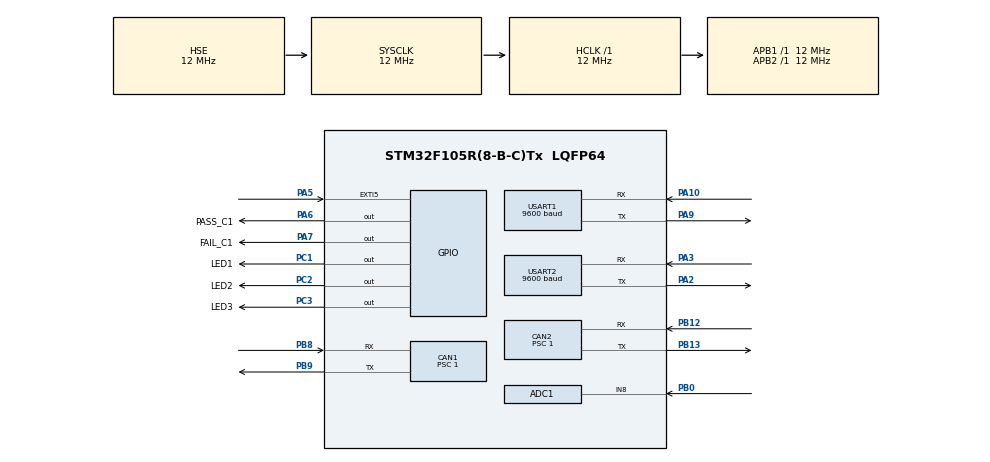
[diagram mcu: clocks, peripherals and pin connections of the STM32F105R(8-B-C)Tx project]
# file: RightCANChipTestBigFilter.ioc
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ADC1.Channel-3\#ChannelRegularConversion=ADC_CHANNEL_8
ADC1.NbrOfConversionFlag=1
ADC1.Rank-3\#ChannelRegularConversion=1
ADC1.SamplingTime-3\#ChannelRegularConversion=ADC_SAMPLETIME_1CYCLE_5
ADC1.master=1
CAN1.BS1=CAN_BS1_12TQ
CAN1.BS2=CAN_BS2_2TQ
CAN1.CalculateBaudRate=800000
CAN1.CalculateTimeBit=1250
CAN1.CalculateTimeQuantum=83.33333333333333
CAN1.NART=ENABLE
CAN1.Prescaler=1
CAN2.BS1=CAN_BS1_12TQ
CAN2.BS2=CAN_BS2_2TQ
CAN2.CalculateBaudRate=800000
CAN2.CalculateTimeBit=1250
CAN2.CalculateTimeQuantum=83.33333333333333
CAN2.NART=DISABLE
CAN2.Prescaler=1
Dma.Request0=USART1_RX
Dma.USART1_RX.0.Direction=DMA_PERIPH_TO_MEMORY
Dma.USART1_RX.0.Instance=DMA1_Channel5
Dma.USART1_RX.0.MemDataAlignment=DMA_MDATAALIGN_BYTE
Dma.USART1_RX.0.MemInc=DMA_MINC_ENABLE
Dma.USART1_RX.0.Mode=DMA_NORMAL
Dma.USART1_RX.0.PeriphDataAlignment=DMA_PDATAALIGN_BYTE
Dma.USART1_RX.0.PeriphInc=DMA_PINC_DISABLE
Dma.USART1_RX.0.Priority=DMA_PRIORITY_LOW
Mcu.Family=STM32F1
Mcu.Name=STM32F105R(8-B-C)Tx
Mcu.Package=LQFP64
NVIC.CAN1_RX0_IRQn=true\:0\:0\:false\:false\:true\:true\:true\:true
NVIC.CAN1_SCE_IRQn=true\:0\:0\:false\:false\:true\:true\:true\:true
NVIC.CAN1_TX_IRQn=true\:0\:0\:false\:false\:true\:true\:true\:true
NVIC.CAN2_RX1_IRQn=true\:0\:0\:false\:false\:true\:true\:true\:true
NVIC.CAN2_SCE_IRQn=true\:0\:0\:false\:false\:true\:true\:true\:true
NVIC.CAN2_TX_IRQn=true\:0\:0\:false\:false\:true\:true\:true\:true
NVIC.DMA1_Channel5_IRQn=true\:0\:0\:false\:false\:true\:false\:true\:true
NVIC.EXTI9_5_IRQn=true\:0\:0\:false\:false\:true\:true\:true\:true
NVIC.PriorityGroup=NVIC_PRIORITYGROUP_4
NVIC.TIM6_IRQn=true\:0\:0\:false\:false\:true\:true\:true\:true
NVIC.TIM7_IRQn=true\:0\:0\:false\:false\:true\:true\:true\:true
NVIC.USART1_IRQn=true\:0\:0\:false\:false\:true\:true\:true\:true
NVIC.USART2_IRQn=true\:0\:0\:false\:false\:true\:true\:true\:true
PA10.Mode=Asynchronous
PA10.Signal=USART1_RX
PA2.Mode=Asynchronous
PA2.Signal=USART2_TX
PA3.Mode=Asynchronous
PA3.Signal=USART2_RX
PA5.GPIO_ModeDefaultEXTI=GPIO_MODE_IT_RISING_FALLING
PA5.GPIO_PuPd=GPIO_PULLUP
PA5.Signal=GPXTI5
PA6.GPIO_Label=PASS_C1
PA6.GPIO_ModeDefaultOutputPP=GPIO_MODE_OUTPUT_PP
PA6.GPIO_PuPd=GPIO_PULLUP
PA6.PinState=GPIO_PIN_RESET
PA6.Signal=GPIO_Output
PA7.GPIO_Label=FAIL_C1
PA7.GPIO_ModeDefaultOutputPP=GPIO_MODE_OUTPUT_PP
PA7.GPIO_PuPd=GPIO_PULLUP
PA7.PinState=GPIO_PIN_RESET
PA7.Signal=GPIO_Output
PA9.Mode=Asynchronous
PA9.Signal=USART1_TX
PB0.Signal=ADCx_IN8
PB12.Mode=CAN_Activate
PB12.Signal=CAN2_RX
PB13.Mode=CAN_Activate
PB13.Signal=CAN2_TX
PB8.Mode=CAN_Activate
PB8.Signal=CAN1_RX
PB9.Mode=CAN_Activate
PB9.Signal=CAN1_TX
PC1.GPIO_Label=LED1
PC1.GPIO_PuPd=GPIO_NOPULL
PC1.Signal=GPIO_Output
PC2.GPIO_Label=LED2
PC2.Signal=GPIO_Output
PC3.GPIO_Label=LED3
PC3.Signal=GPIO_Output
PD0-OSC_IN.Mode=HSE-External-Oscillator
PD0-OSC_IN.Signal=RCC_OSC_IN
PD1-OSC_OUT.Mode=HSE-External-Oscillator
PD1-OSC_OUT.Signal=RCC_OSC_OUT
ProjectManager.HeapSize=0x200
ProjectManager.StackSize=0x400
ProjectManager.TargetToolchain=STM32CubeIDE
RCC.ADCPresc=RCC_ADCPCLK2_DIV6
RCC.AHBFreq_Value=12000000
RCC.APB1Freq_Value=12000000
RCC.APB1TimFreq_Value=12000000
RCC.APB2Freq_Value=12000000
RCC.APB2TimFreq_Value=12000000
RCC.HCLKFreq_Value=12000000
RCC.HSE_VALUE=12000000
RCC.PLLMUL=RCC_PLL_MUL6
RCC.PLLSourceVirtual=RCC_PLLSOURCE_HSE
RCC.SYSCLKFreq_VALUE=12000000
RCC.SYSCLKSource=RCC_SYSCLKSOURCE_HSE
RCC.USBFreq_Value=48000000
SH.ADCx_IN8.0=ADC1_IN8,IN8
TIM6.Period=1
TIM6.Prescaler=11999
TIM7.AutoReloadPreload=TIM_AUTORELOAD_PRELOAD_ENABLE
TIM7.Period=100
TIM7.Prescaler=12000
USART1.BaudRate=9600
USART1.VirtualMode=VM_ASYNC
USART2.BaudRate=9600
USART2.VirtualMode=VM_ASYNC
VP_TIM6_VS_ClockSourceINT.Mode=Enable_Timer
VP_TIM7_VS_ClockSourceINT.Mode=Enable_Timer
board=custom

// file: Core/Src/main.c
/* USER CODE BEGIN Header */
/* USER CODE END Header */
#include "main.h"

ADC_HandleTypeDef hadc1;

CAN_HandleTypeDef hcan1;
CAN_HandleTypeDef hcan2;

TIM_HandleTypeDef htim6;
TIM_HandleTypeDef htim7;

UART_HandleTypeDef huart1;
UART_HandleTypeDef huart2;
DMA_HandleTypeDef hdma_usart1_rx;

/* USER CODE BEGIN PV */
uint8_t gUartByte;              // Received data byte from uart
uint8_t gCanReceivedMsg = 0x00; // Received CAN message from an interrupt
uint8_t gChannelsTested;
uint8_t gAdcRxDataUart[TOTAL_ADC_CONN_C][ADC_DATA_LEN]; // Stored adc data received from Uart

bool    gStartDmaUart   = false; // A boolean for starting uart dma reception
bool    gAllAdcReceived = false; // Tells if all the bytes for adc have been received
uint8_t turnOn          = 0;
/* USER CODE END PV */

void SystemClock_Config(void);
static void MX_GPIO_Init(void);
static void MX_DMA_Init(void);
static void MX_CAN1_Init(void);
static void MX_CAN2_Init(void);
static void MX_ADC1_Init(void);
static void MX_USART1_UART_Init(void);
static void MX_USART2_UART_Init(void);
static void MX_TIM7_Init(void);
static void MX_TIM6_Init(void);

/* USER CODE BEGIN 0 */

// Button interrupt, which will trigger the reset.
void HAL_GPIO_EXTI_Callback(uint16_t GPIO_Pin)
{
  // If the button press is recognised and the debounce is not triggered at the moment
  if(GPIO_Pin == GPIO_PIN_5)
  {
    HAL_TIM_Base_Start_IT(&htim6); // Starts a short period timer for debounce
  }
}

// Timer callback irq function:
void HAL_TIM_PeriodElapsedCallback(TIM_HandleTypeDef *htim)
{
  // Timer for Debounce:
  if(htim->Instance == TIM6)
  {
    if(turnOn == 2)
    {
      NVIC_SystemReset();
    }
    else
    {
      turnOn = 1;
    }
    HAL_TIM_Base_Stop_IT(&htim6); // Stops the timer
  }
  // Timer for Toggling the builtin LED:
  if(htim->Instance == TIM7)
  {
    HAL_GPIO_TogglePin(GPIOC, LED3_Pin);
  }
}
/* USER CODE END 0 */

int main(void)
{

  /* MCU Configuration--------------------------------------------------------*/

  /* Reset of all peripherals, Initializes the Flash interface and the Systick. */
  HAL_Init();

  /* Configure the system clock */
  SystemClock_Config();

  /* Initialize all configured peripherals */
  MX_GPIO_Init();
  MX_DMA_Init();
  MX_CAN1_Init();
  MX_CAN2_Init();
  MX_ADC1_Init();
  MX_USART1_UART_Init();
  MX_USART2_UART_Init();
  MX_TIM7_Init();
  MX_TIM6_Init();
  /* USER CODE BEGIN 2 */
  while(turnOn != 1){}
  HAL_UART_Transmit(&huart1,(uint8_t*)"A", 1, 10);
  uint8_t C_CheckCount;       // Counter for tested conncetions from the C module
  uint8_t C1_CheckCount;      // Counter for tested conncetions from the C1 module
  uint8_t totalConnCount;     // Total connections tested (C1 and C combined)
  bool    bTestPass = true;

  // These are the main program states:
  MainStates_e  mainState  = MainStates_CHECK_CONNECTIONS;

  // Connections States, telling if the connection being tested is from C or from C1 module:
  ModuleTested_e moduleTested;

  // Test stages for each connection test
  TestStages_e testStage;

  // Data from C Module:
  C_Connections_t C_Connection[3]; // "C" MCU struct:
  C_Connection[0] = C_Init((uint8_t*)CAN1_NAME, C_Connection[0]); // CAN 1 parameters (UART):
  C_Connection[1] = C_Init((uint8_t*)CAN2_NAME, C_Connection[1]); // CAN 2 parameters (UART):
  C_Connection[2] = C_Init((uint8_t*)LIN_NAME, C_Connection[2]);  // LIN parameters (UART):

  // Data from this - C1 Module:
  C1_Connections_t C1_Connection[2]; // "C1" Connections MCU struct:
  C1_Connection[0] = C1_Init(&hcan1, (uint8_t*)CAN3_NAME, C1_Connection[0]); // CAN3 Parameters:
  C1_Connection[1] = C1_Init(&hcan2, (uint8_t*)CAN4_NAME, C1_Connection[1]); // CAN4 Parameters:

  test1  test1[6];
  for(int i=0; i<6 ; i++)
  {
    test1[i].bCurrentOk = true;
  }

  print_startMenu(); // Print start menu in the terminal:
  /* USER CODE END 2 */

  /* Infinite loop */
  /* USER CODE BEGIN WHILE */
  HAL_GPIO_WritePin(GPIOA,PASS_C1_Pin, 0);
  HAL_GPIO_WritePin(GPIOA,FAIL_C1_Pin, 0);

  gChannelsTested = 2;
  uartRx_receiveAdcDataC(&huart1);
  print_adcDataC(gAdcRxDataUart, test1, gChannelsTested);

  memset(gAdcRxDataUart, 0, sizeof(gAdcRxDataUart));      // Resets the global variable array
  gStartDmaUart = true;                                   // Starts the dma reading UART

  for(uint8_t testTry=1; testTry<=2; testTry++) // 2 test tries are used to fully test the system without any hiccups
  {
    // Resets all the counters and states for a new try
    C_CheckCount   = 0;
    C1_CheckCount  = 0;
    totalConnCount = 0;
    moduleTested   = ModuleTested_CHECK_C_UART;
    testStage      = TestStages_TRANSMIT_MSG;
    do
    {
      switch(mainState)
      {
          case MainStates_CHECK_CONNECTIONS:
            // If the Id is not for CAN1 and CAN2
            switch(moduleTested)
            {
              case ModuleTested_CHECK_C_UART:
                switch(testStage)
                {
                   case TestStages_TRANSMIT_MSG: // Enters the transmit stage
                     HAL_UART_Transmit(&huart1, &C_Connection[C_CheckCount].uartMsg, 1, 10);
                     testStage = TestStages_RECEIVE; // Goes to the next stage

                   case TestStages_RECEIVE: // Enters the reception stage
                     // The byte received will then return the status of the connection from this funtion (Good or Bad)
                     C_Connection[C_CheckCount].bIsConnected = uartRx_isConnectionOk(C_Connection[C_CheckCount].uartMsg, C_Connection[C_CheckCount].uartMsgError);
                     testStage = TestStages_TRANSMIT_MSG; // Goes to the first stage
                     break;
                }
                break;

              case ModuleTested_CHECK_C1:
                switch(testStage)
                {
                  case TestStages_TRANSMIT_MSG: // Enters the transmit stage
                    canTx_sendMsg(C1_Connection[C1_CheckCount].canId, C1_Connection[C1_CheckCount].canMsg, C1_Connection[C1_CheckCount].pCan);
                    testStage = TestStages_RECEIVE; // Goes to the next stage

                  case TestStages_RECEIVE: // Enters the reception stage
                    // This returns the checked status of the connetion (Good or Bad)
                    C1_Connection[C1_CheckCount].bIsConnected = canRx_isCanOk(C1_Connection[C1_CheckCount].canMsg);
                    testStage = TestStages_TRANSMIT_MSG;  // Goes to the first stage
                 }
                break;
            }
            mainState = MainStates_PRINT_STATUS_USB; // Moves on to the next state:
            break;
          case MainStates_PRINT_STATUS_USB:
            // Print status Uart for CAN1 and CAN2
            switch(moduleTested)
            {
             case ModuleTested_CHECK_C_UART:
                 if(testTry == 2)  // Print status Uart for CAN3 and CAN4 on a second test try
                 {
                   // Prints the C connection data onto the terminal
                   print_connectionStatus(totalConnCount, C_Connection[C_CheckCount].name, C_Connection[C_CheckCount].bIsConnected, &huart2);
                 }
                 C_CheckCount++;
                 break;
              case ModuleTested_CHECK_C1:
                if(testTry == 2)  // Print status Uart for CAN1 and CAN2, LIN on a second test try
                {
                  // Prints the C1 connection data onto the terminal
                  print_connectionStatus(totalConnCount, C1_Connection[C1_CheckCount].name, C1_Connection[C1_CheckCount].bIsConnected, &huart2);
                }
                C1_CheckCount++;
                break;
            }
            totalConnCount++;       // Increments the total connections tested
            if(totalConnCount == 3) // If CAN1, CAN2 and LIN have already been tested:
            {
              moduleTested = ModuleTested_CHECK_C1;   // Move to testing the C module connections
            }
            mainState = MainStates_CHECK_CONNECTIONS; // Moves on to the primary state:
            break;
      }
    }
    while(totalConnCount < TOTAL_CONNECTIONS); // Checks if all connections (C and C1) have been tested
    }
    gStartDmaUart   = false;
    HAL_UART_Transmit(&huart1,(uint8_t*)"R", 1, 10);

    gChannelsTested = 3;
    uartRx_receiveAdcDataC(&huart1);
    print_adcDataC(gAdcRxDataUart, test1, gChannelsTested);

    //--
    for(int i = 0; i<3;i++)
    {
      if(C_Connection[i].bIsConnected == false)
      {
        bTestPass = false;
      }
    }
    for(int i = 0; i<2; i++)
    {
      if(C1_Connection[i].bIsConnected == false)
      {
        bTestPass = false;
      }
    }
    print_endNote(bTestPass); // Prints the end data in the terminal
    //--

    turnOn = 2;
    while(1);
    /* USER CODE END WHILE */

}

void SystemClock_Config(void)
{
  RCC_OscInitTypeDef RCC_OscInitStruct = {0};
  RCC_ClkInitTypeDef RCC_ClkInitStruct = {0};
  RCC_PeriphCLKInitTypeDef PeriphClkInit = {0};

  /** Initializes the RCC Oscillators according to the specified parameters
  * in the RCC_OscInitTypeDef structure.
  */
  RCC_OscInitStruct.OscillatorType = RCC_OSCILLATORTYPE_HSE;
  RCC_OscInitStruct.HSEState = RCC_HSE_ON;
  RCC_OscInitStruct.PLL.PLLState = RCC_PLL_NONE;
  RCC_OscInitStruct.PLL2.PLL2State = RCC_PLL_NONE;
  if (HAL_RCC_OscConfig(&RCC_OscInitStruct) != HAL_OK)
  {
    Error_Handler();
  }

  /** Initializes the CPU, AHB and APB buses clocks
  */
  RCC_ClkInitStruct.ClockType = RCC_CLOCKTYPE_HCLK|RCC_CLOCKTYPE_SYSCLK
                              |RCC_CLOCKTYPE_PCLK1|RCC_CLOCKTYPE_PCLK2;
  RCC_ClkInitStruct.SYSCLKSource = RCC_SYSCLKSOURCE_HSE;
  RCC_ClkInitStruct.AHBCLKDivider = RCC_SYSCLK_DIV1;
  RCC_ClkInitStruct.APB1CLKDivider = RCC_HCLK_DIV1;
  RCC_ClkInitStruct.APB2CLKDivider = RCC_HCLK_DIV1;

  if (HAL_RCC_ClockConfig(&RCC_ClkInitStruct, FLASH_LATENCY_0) != HAL_OK)
  {
    Error_Handler();
  }
  PeriphClkInit.PeriphClockSelection = RCC_PERIPHCLK_ADC;
  PeriphClkInit.AdcClockSelection = RCC_ADCPCLK2_DIV6;
  if (HAL_RCCEx_PeriphCLKConfig(&PeriphClkInit) != HAL_OK)
  {
    Error_Handler();
  }

  /** Configure the Systick interrupt time
  */
  __HAL_RCC_PLLI2S_ENABLE();
}

static void MX_ADC1_Init(void)
{

  ADC_ChannelConfTypeDef sConfig = {0};

  /** Common config
  */
  hadc1.Instance = ADC1;
  hadc1.Init.ScanConvMode = ADC_SCAN_DISABLE;
  hadc1.Init.ContinuousConvMode = DISABLE;
  hadc1.Init.DiscontinuousConvMode = DISABLE;
  hadc1.Init.ExternalTrigConv = ADC_SOFTWARE_START;
  hadc1.Init.DataAlign = ADC_DATAALIGN_RIGHT;
  hadc1.Init.NbrOfConversion = 1;
  if (HAL_ADC_Init(&hadc1) != HAL_OK)
  {
    Error_Handler();
  }

  /** Configure Regular Channel
  */
  sConfig.Channel = ADC_CHANNEL_8;
  sConfig.Rank = ADC_REGULAR_RANK_1;
  sConfig.SamplingTime = ADC_SAMPLETIME_1CYCLE_5;
  if (HAL_ADC_ConfigChannel(&hadc1, &sConfig) != HAL_OK)
  {
    Error_Handler();
  }

}

static void MX_CAN1_Init(void)
{

  hcan1.Instance = CAN1;
  hcan1.Init.Prescaler = 1;
  hcan1.Init.Mode = CAN_MODE_NORMAL;
  hcan1.Init.SyncJumpWidth = CAN_SJW_1TQ;
  hcan1.Init.TimeSeg1 = CAN_BS1_12TQ;
  hcan1.Init.TimeSeg2 = CAN_BS2_2TQ;
  hcan1.Init.TimeTriggeredMode = DISABLE;
  hcan1.Init.AutoBusOff = DISABLE;
  hcan1.Init.AutoWakeUp = DISABLE;
  hcan1.Init.AutoRetransmission = ENABLE;
  hcan1.Init.ReceiveFifoLocked = DISABLE;
  hcan1.Init.TransmitFifoPriority = DISABLE;
  if (HAL_CAN_Init(&hcan1) != HAL_OK)
  {
    Error_Handler();
  }

}

static void MX_CAN2_Init(void)
{

  hcan2.Instance = CAN2;
  hcan2.Init.Prescaler = 1;
  hcan2.Init.Mode = CAN_MODE_NORMAL;
  hcan2.Init.SyncJumpWidth = CAN_SJW_1TQ;
  hcan2.Init.TimeSeg1 = CAN_BS1_12TQ;
  hcan2.Init.TimeSeg2 = CAN_BS2_2TQ;
  hcan2.Init.TimeTriggeredMode = DISABLE;
  hcan2.Init.AutoBusOff = DISABLE;
  hcan2.Init.AutoWakeUp = DISABLE;
  hcan2.Init.AutoRetransmission = DISABLE;
  hcan2.Init.ReceiveFifoLocked = DISABLE;
  hcan2.Init.TransmitFifoPriority = DISABLE;
  if (HAL_CAN_Init(&hcan2) != HAL_OK)
  {
    Error_Handler();
  }

}

static void MX_TIM6_Init(void)
{

  TIM_MasterConfigTypeDef sMasterConfig = {0};

  htim6.Instance = TIM6;
  htim6.Init.Prescaler = 11999;
  htim6.Init.CounterMode = TIM_COUNTERMODE_UP;
  htim6.Init.Period = 1;
  htim6.Init.AutoReloadPreload = TIM_AUTORELOAD_PRELOAD_DISABLE;
  if (HAL_TIM_Base_Init(&htim6) != HAL_OK)
  {
    Error_Handler();
  }
  sMasterConfig.MasterOutputTrigger = TIM_TRGO_RESET;
  sMasterConfig.MasterSlaveMode = TIM_MASTERSLAVEMODE_DISABLE;
  if (HAL_TIMEx_MasterConfigSynchronization(&htim6, &sMasterConfig) != HAL_OK)
  {
    Error_Handler();
  }

}

static void MX_TIM7_Init(void)
{

  TIM_MasterConfigTypeDef sMasterConfig = {0};

  htim7.Instance = TIM7;
  htim7.Init.Prescaler = 12000;
  htim7.Init.CounterMode = TIM_COUNTERMODE_UP;
  htim7.Init.Period = 100;
  htim7.Init.AutoReloadPreload = TIM_AUTORELOAD_PRELOAD_ENABLE;
  if (HAL_TIM_Base_Init(&htim7) != HAL_OK)
  {
    Error_Handler();
  }
  sMasterConfig.MasterOutputTrigger = TIM_TRGO_RESET;
  sMasterConfig.MasterSlaveMode = TIM_MASTERSLAVEMODE_DISABLE;
  if (HAL_TIMEx_MasterConfigSynchronization(&htim7, &sMasterConfig) != HAL_OK)
  {
    Error_Handler();
  }
  /* USER CODE BEGIN TIM7_Init 2 */
  HAL_TIM_Base_Start_IT(&htim7);
  /* USER CODE END TIM7_Init 2 */

}

static void MX_USART1_UART_Init(void)
{

  huart1.Instance = USART1;
  huart1.Init.BaudRate = 9600;
  huart1.Init.WordLength = UART_WORDLENGTH_8B;
  huart1.Init.StopBits = UART_STOPBITS_1;
  huart1.Init.Parity = UART_PARITY_NONE;
  huart1.Init.Mode = UART_MODE_TX_RX;
  huart1.Init.HwFlowCtl = UART_HWCONTROL_NONE;
  huart1.Init.OverSampling = UART_OVERSAMPLING_16;
  if (HAL_UART_Init(&huart1) != HAL_OK)
  {
    Error_Handler();
  }

}

static void MX_USART2_UART_Init(void)
{

  huart2.Instance = USART2;
  huart2.Init.BaudRate = 9600;
  huart2.Init.WordLength = UART_WORDLENGTH_8B;
  huart2.Init.StopBits = UART_STOPBITS_1;
  huart2.Init.Parity = UART_PARITY_NONE;
  huart2.Init.Mode = UART_MODE_TX_RX;
  huart2.Init.HwFlowCtl = UART_HWCONTROL_NONE;
  huart2.Init.OverSampling = UART_OVERSAMPLING_16;
  if (HAL_UART_Init(&huart2) != HAL_OK)
  {
    Error_Handler();
  }

}

static void MX_DMA_Init(void)
{

  /* DMA controller clock enable */
  __HAL_RCC_DMA1_CLK_ENABLE();

  /* DMA interrupt init */
  /* DMA1_Channel5_IRQn interrupt configuration */
  HAL_NVIC_SetPriority(DMA1_Channel5_IRQn, 0, 0);
  HAL_NVIC_EnableIRQ(DMA1_Channel5_IRQn);

}

static void MX_GPIO_Init(void)
{
  GPIO_InitTypeDef GPIO_InitStruct = {0};

  /* GPIO Ports Clock Enable */
  __HAL_RCC_GPIOD_CLK_ENABLE();
  __HAL_RCC_GPIOC_CLK_ENABLE();
  __HAL_RCC_GPIOA_CLK_ENABLE();
  __HAL_RCC_GPIOB_CLK_ENABLE();

  /*Configure GPIO pin Output Level */
  HAL_GPIO_WritePin(GPIOC, LED1_Pin|LED2_Pin|LED3_Pin, GPIO_PIN_RESET);

  /*Configure GPIO pin Output Level */
  HAL_GPIO_WritePin(GPIOA, PASS_C1_Pin|FAIL_C1_Pin, GPIO_PIN_RESET);

  /*Configure GPIO pins : LED1_Pin LED2_Pin LED3_Pin */
  GPIO_InitStruct.Pin = LED1_Pin|LED2_Pin|LED3_Pin;
  GPIO_InitStruct.Mode = GPIO_MODE_OUTPUT_PP;
  GPIO_InitStruct.Pull = GPIO_NOPULL;
  GPIO_InitStruct.Speed = GPIO_SPEED_FREQ_LOW;
  HAL_GPIO_Init(GPIOC, &GPIO_InitStruct);

  /*Configure GPIO pin : PA5 */
  GPIO_InitStruct.Pin = GPIO_PIN_5;
  GPIO_InitStruct.Mode = GPIO_MODE_IT_RISING_FALLING;
  GPIO_InitStruct.Pull = GPIO_PULLUP;
  HAL_GPIO_Init(GPIOA, &GPIO_InitStruct);

  /*Configure GPIO pins : PASS_C1_Pin FAIL_C1_Pin */
  GPIO_InitStruct.Pin = PASS_C1_Pin|FAIL_C1_Pin;
  GPIO_InitStruct.Mode = GPIO_MODE_OUTPUT_PP;
  GPIO_InitStruct.Pull = GPIO_PULLUP;
  GPIO_InitStruct.Speed = GPIO_SPEED_FREQ_LOW;
  HAL_GPIO_Init(GPIOA, &GPIO_InitStruct);

  /* EXTI interrupt init*/
  HAL_NVIC_SetPriority(EXTI9_5_IRQn, 0, 0);
  HAL_NVIC_EnableIRQ(EXTI9_5_IRQn);

}

void Error_Handler(void)
{
  /* USER CODE BEGIN Error_Handler_Debug */
  /* User can add his own implementation to report the HAL error return state */

  HAL_GPIO_WritePin(GPIOC, LED1_Pin | LED2_Pin | LED3_Pin, 0);
  while(1)
  {
    HAL_GPIO_WritePin(GPIOC, LED1_Pin, 1);
  }
  /* USER CODE END Error_Handler_Debug */
}
